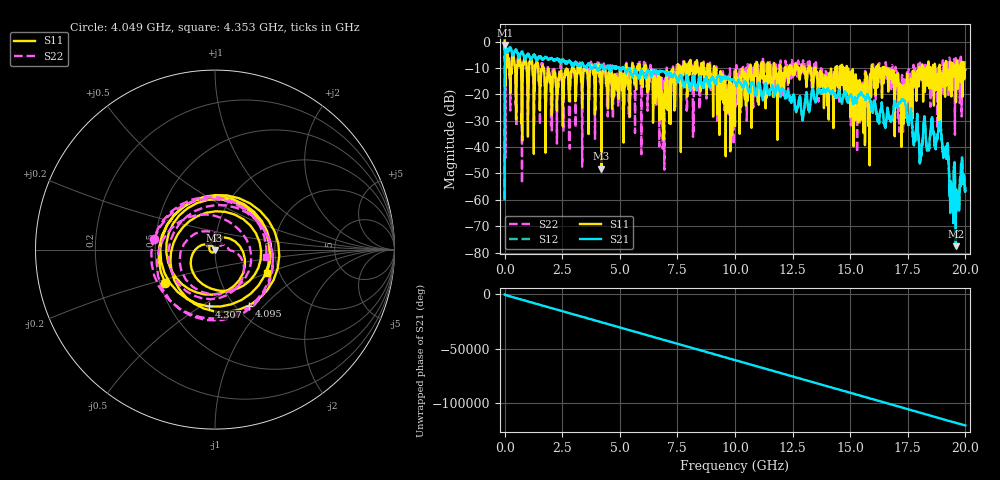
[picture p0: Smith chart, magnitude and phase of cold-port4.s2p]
! MS46122B
! 2250307/22442219
! 2/18/2026 9:28:22 AM
! C:\USERS\SPARKY\DOCUMENTS\VNA_DATA\FEB18_2026\COLD-PORT4.S2P
! CHANNEL.1
! TR.MEASUREMENT
! RAW.DATA
# GHZ S RI R 50.0
! FREQ.GHZ  S11RE  S11IM  S21RE  S21IM  S12RE  S12IM  S22RE  S22IM
!; PortSelection: Port_12
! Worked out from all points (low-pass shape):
!   10001 points, 1 MHz to 20 GHz, reference 50 ohm
!   highest |S21| = -1.28 dB at 33 MHz (marker M1); lowest = -77.6 dB at 19.58 GHz (marker M2)
!   |S21| within 3 dB of the highest: 131.5 MHz to 315.6 MHz (184.2 MHz wide, 82.4 % of centre); 413.4 MHz to 568.2 MHz (154.8 MHz wide, 31.5 % of centre) (the widest 2 of 4)
!   lowest |S11| = -48.2 dB at 4.201 GHz (marker M3), VSWR 1.01, Z = 49.7 - j0.29 ohm
!   |S11| at or under -10 dB: 6.142 GHz to 7.506 GHz (1.365 GHz wide, 20 % of centre); 9.103 GHz to 10.61 GHz (1.509 GHz wide, 15.3 % of centre); 16.49 GHz to 18 GHz (1.502 GHz wide, 8.71 % of centre) (the widest 3 of 94)
!   |S22| runs from -53.8 to -0.2 dB; largest |S21 - S12| = 0.063
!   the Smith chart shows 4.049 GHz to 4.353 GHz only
!   S11 on the Smith chart (normalised r, x): 4.049 GHz: 0.53, -0.22; 4.095 GHz: 1.14, -0.83; 4.307 GHz: 0.77, -0.54; 4.353 GHz: 1.72, -0.49
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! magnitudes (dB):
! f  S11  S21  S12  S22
! 1 MHz  0.4  -59.8  -59.9  -0.2
! 33 MHz  -17.0  -1.3  -1.6  -17.5
! 127 MHz  -4.7  -4.3  -4.4  -4.6
! 3.335 GHz  -14.4  -8.2  -8.4  -12.8
! 4.049 GHz  -9.5  -10.9  -11.1  -9.2
! 4.095 GHz  -8.8  -11.0  -11.2  -8.1
! 4.201 GHz  -48.2  -8.9  -8.9  -24.1
! 4.307 GHz  -9.9  -10.6  -10.5  -8.3
! 4.353 GHz  -10.0  -10.4  -10.5  -10.8
! 6.669 GHz  -12.7  -12.4  -12.5  -12.1
! 8.067 GHz  -6.9  -18.2  -18.2  -8.5
! 10 GHz  -27.5  -15.7  -15.2  -12.5
! 13.33 GHz  -14.9  -18.9  -19.2  -17.4
! 14.9 GHz  -10.4  -23.1  -23.1  -12.2
! 15.39 GHz  -19.2  -20.1  -20.1  -17.3
! 16.67 GHz  -14.3  -28.2  -28.2  -12.6
! 17.3 GHz  -22.5  -22.1  -22.0  -20.1
! 18.06 GHz  -11.1  -44.1  -43.9  -10.5
! 18.88 GHz  -8.8  -31.0  -31.5  -12.8
! 19.39 GHz  -16.6  -56.4  -57.1  -8.4
! 19.58 GHz  -16.5  -77.6  -75.9  -6.3
! 20 GHz  -10.7  -55.5  -56.1  -6.1
